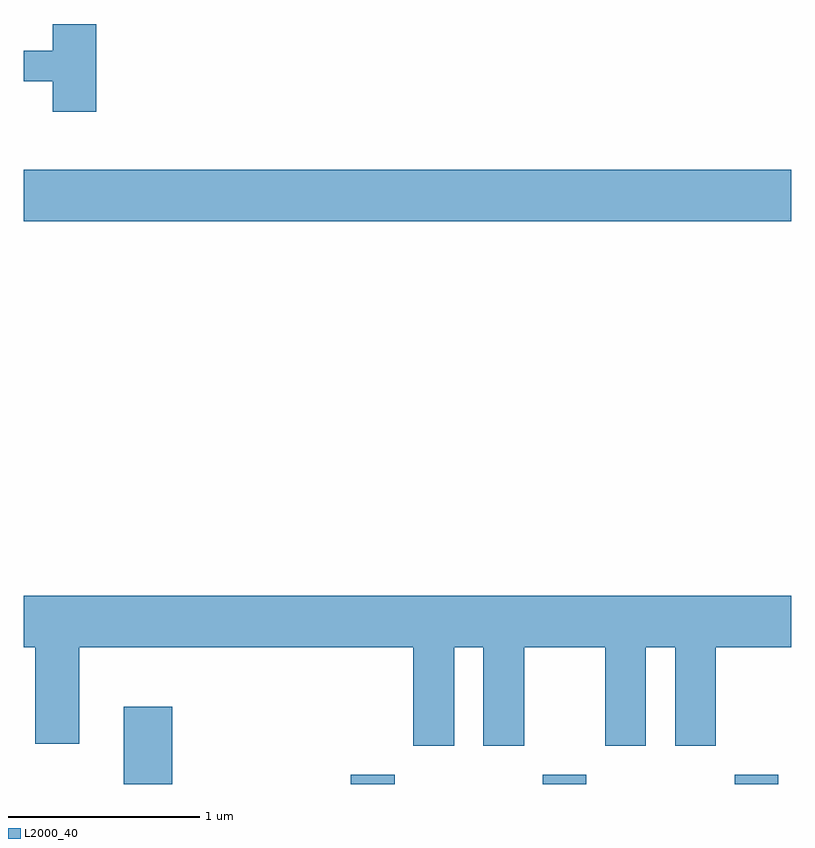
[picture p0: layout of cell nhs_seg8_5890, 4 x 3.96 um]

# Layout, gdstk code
import gdstk
lib = gdstk.Library(unit=1e-6, precision=1e-09)
def R(c, l, rs):  # rectangles x0, y0, x1, y1
    for r in rs: c.add(gdstk.rectangle(r[:2], r[2:], *l))
def A(c, l, x, y, w, h, nx, ny, dx, dy):  # array of equal rectangles
    R(c, l, [(x+i*dx, y+j*dy, x+i*dx+w, y+j*dy+h) for i in range(nx) for j in range(ny)])
def P(c, l, *ps):  # polygons
    for p in ps: c.add(gdstk.Polygon(p, *l))
L2000_40 = (2000, 40)

nhs_seg8_5890 = lib.new_cell('nhs_seg8_5890')
A(nhs_seg8_5890, L2000_40, 363.316, 1862.342, 0.228, 0.047, 3, 1, 1, 0)
R(nhs_seg8_5890, L2000_40, [(362.131,1862.342,362.384,1862.744), (361.611,1865.276,365.611,1865.544)])
P(nhs_seg8_5890, L2000_40, [(361.989,1866.304),(361.761,1866.304),(361.761,1866.164),(361.611,1866.164),(361.611,1866.006),(361.761,1866.006),(361.761,1865.846),(361.989,1865.846)],
  [(363.854,1863.056),(364.006,1863.056),(364.006,1862.541),(364.219,1862.541),(364.219,1863.056),(364.641,1863.056),(364.641,1862.541),(364.854,1862.541),(364.854,1863.056),(365.006,1863.056),(365.006,1862.541),(365.219,1862.541),(365.219,1863.056),(365.611,1863.056),(365.611,1863.324),(361.611,1863.324),(361.611,1863.056),(361.671,1863.056),(361.671,1862.551),(361.899,1862.551),(361.899,1863.056),(363.641,1863.056),(363.641,1862.541),(363.854,1862.541)])

lib.write_gds('nhs_seg8_5890.gds')
